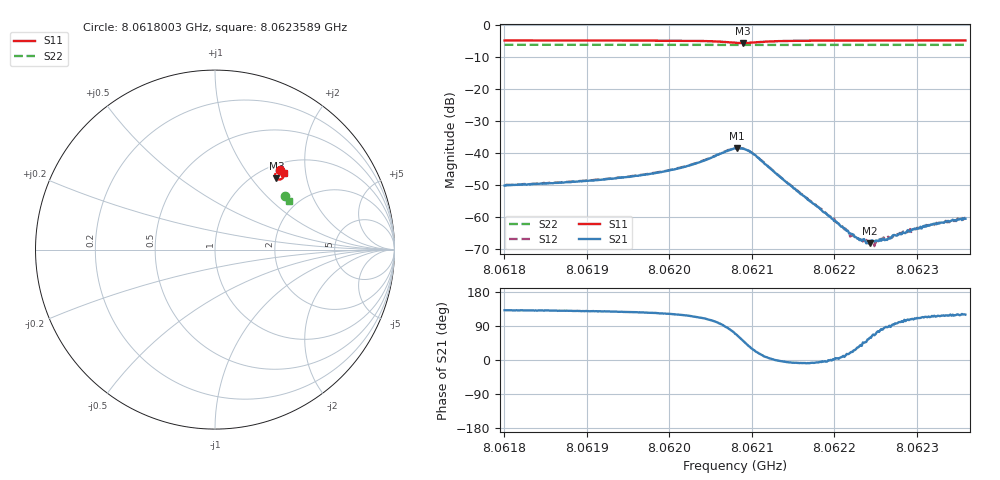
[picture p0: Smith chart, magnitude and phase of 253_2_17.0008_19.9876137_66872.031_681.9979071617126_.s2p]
#  HZ  S  RI  R  50.00
! Rohde & Schwarz Vector Network Analyzer
! Rohde-Schwarz,ZNB20-2Port,1311601062101988,3.16
! Created: UTC 3/20/2024, 11:03:22 PM
! freq[Hz]  re:S11  im:S11  re:S21  im:S21  re:S12  im:S12  re:S22  im:S22
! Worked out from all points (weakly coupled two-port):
!   401 points, 8.0618003 GHz to 8.0623589 GHz, reference 50 ohm
!   highest |S21| = -38.42 dB at 8.0620824 GHz (marker M1); lowest = -68.2 dB at 8.062243 GHz (marker M2)
!   lowest |S11| = -5.6 dB at 8.0620894 GHz (marker M3), VSWR 3.21, Z = 61.4 + j67.3 ohm
!   |S11| at or under -10 dB: nowhere
!   |S22| runs from -6.2 to -6.1 dB; largest |S21 - S12| = 0.00087
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8.06180034e9  0.3639 0.4462  -0.00205 0.00233  -0.00195 0.00247  0.3921 0.2981
8.06189389e9  0.3709 0.4402  -0.00227 0.00282  -0.00213 0.00299  0.3955 0.2934
8.06194276e9  0.3748 0.4358  -0.00252 0.00331  -0.00234 0.00346  0.3972 0.2909
8.06198744e9  0.3789 0.4301  -0.00275 0.00415  -0.00256 0.00436  0.3987 0.2886
8.06202793e9  0.3827 0.4203  -0.00286 0.00598  -0.00255 0.00619  0.4002 0.2861
8.0620796e9  0.3585 0.3909  0.00414 0.0111  0.00468 0.0109  0.4002 0.2828
8.06208239e9  0.3537 0.3915  0.00508 0.0109  0.00575 0.0105  0.4 0.2829
8.06208937e9  0.3425 0.3973  0.00739 0.00902  0.00803 0.00869  0.3997 0.283
8.06210613e9  0.3359 0.4226  0.00816 0.00309  0.00843 0.00269  0.4005 0.2833
8.06217315e9  0.3666 0.4386  0.00165 -0.000211  0.00165 -0.000317  0.4042 0.2804
8.06219688e9  0.3712 0.4369  0.000944 -2.24e-05  0.000968 -7.03e-05  0.405 0.2791
8.06222202e9  0.3749 0.4353  0.000505 0.000197  0.000478 0.00019  0.4061 0.2777
8.06223039e9  0.3759 0.4347  0.000351 0.00026  0.00037 0.000244  0.4064 0.2774
8.06224017e9  0.377 0.434  0.000231 0.000321  0.00031 0.000285  0.4066 0.2767
8.06224296e9  0.3773 0.4338  0.000201 0.000332  0.000222 0.000325  0.4068 0.2768
8.06224994e9  0.378 0.4333  0.000158 0.000397  0.000141 0.000387  0.407 0.2763
8.06225692e9  0.3787 0.4329  6.23e-05 0.000424  0.000146 0.000435  0.4072 0.276
8.0622667e9  0.3796 0.4322  -4.07e-06 0.000466  1.77e-05 0.000464  0.4076 0.2755
8.06227228e9  0.3801 0.4319  -3.18e-05 0.000525  -9.48e-06 0.000513  0.4078 0.2752
8.06228206e9  0.381 0.4314  -0.00012 0.000533  -8.15e-05 0.00057  0.408 0.2747
8.06230998e9  0.3834 0.4296  -0.000301 0.000673  -0.000265 0.000661  0.409 0.2734
8.06235885e9  0.387 0.4267  -0.000466 0.00082  -0.000443 0.000868  0.4106 0.2708
